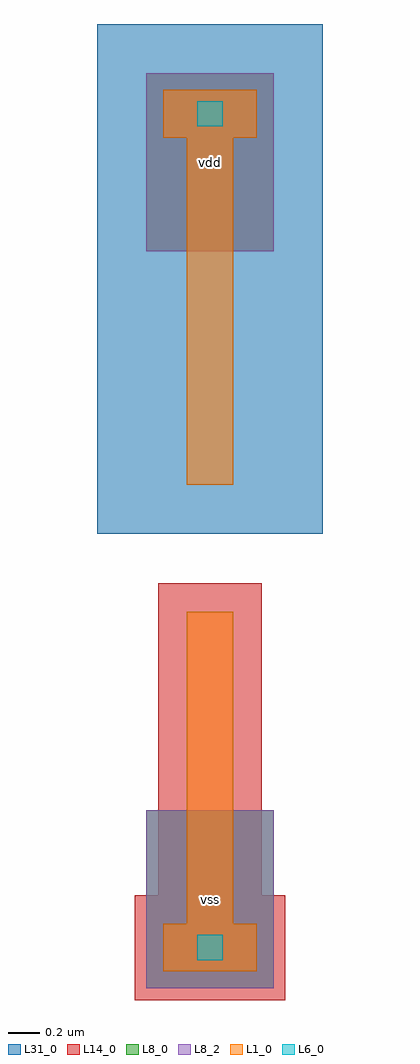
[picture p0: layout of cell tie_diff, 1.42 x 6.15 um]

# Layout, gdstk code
import gdstk
lib = gdstk.Library(unit=1e-6, precision=1e-09)
def R(c, l, rs):  # rectangles x0, y0, x1, y1
    for r in rs: c.add(gdstk.rectangle(r[:2], r[2:], *l))
def P(c, l, *ps):  # polygons
    for p in ps: c.add(gdstk.Polygon(p, *l))
L1_0 = (1, 0)
L6_0 = (6, 0)
L8_0 = (8, 0)
L8_2 = (8, 2)
L14_0 = (14, 0)
L31_0 = (31, 0)

tie_diff = lib.new_cell('tie_diff')
P(tie_diff, L1_0, [(0.255,3.17),(0.255,5.355),(0.105,5.355),(0.105,5.655),(0.695,5.655),(0.695,5.355),(0.545,5.355),(0.545,3.17)],
  [(0.105,0.105),(0.105,0.405),(0.255,0.405),(0.255,2.37),(0.545,2.37),(0.545,0.405),(0.695,0.405),(0.695,0.105)])
R(tie_diff, L6_0, [(0.32,0.175,0.48,0.335), (0.32,5.425,0.48,5.585)])
R(tie_diff, L8_0, [(0,0,0.8,1.12), (0,4.64,0.8,5.76)])
R(tie_diff, L8_2, [(0,0,0.8,1.12), (0,4.64,0.8,5.76)])
P(tie_diff, L14_0, [(-0.075,-0.075),(-0.075,0.585),(0.075,0.585),(0.075,2.55),(0.725,2.55),(0.725,0.585),(0.875,0.585),(0.875,-0.075)])
R(tie_diff, L31_0, [(-0.31,2.86,1.11,6.07)])
tie_diff.add(gdstk.Label('vdd', (0.4,5.2), layer=8, texttype=2))
tie_diff.add(gdstk.Label('vss', (0.4,0.56), layer=8, texttype=2))

lib.write_gds('tie_diff.gds')
